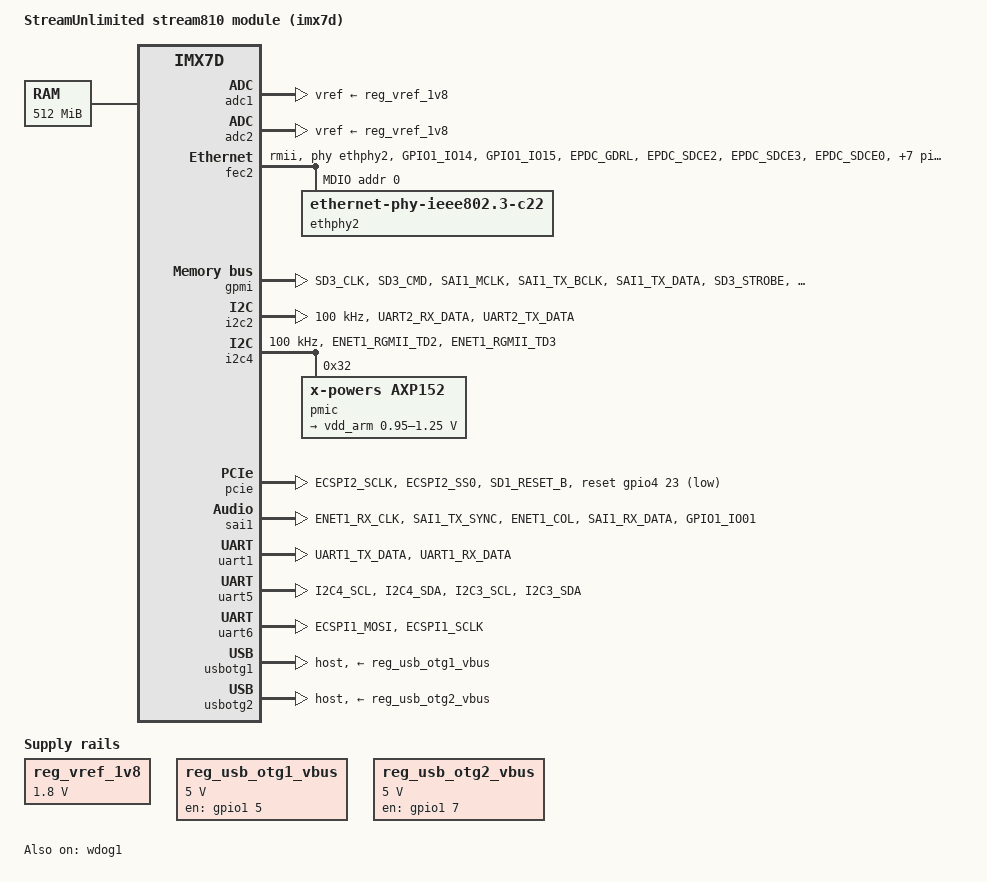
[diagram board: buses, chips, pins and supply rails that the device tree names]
/*
 * This program is free software; you can redistribute it and/or modify
 * it under the terms of the GNU General Public License version 2 as
 * published by the Free Software Foundation.
 */

#include <dt-bindings/input/input.h>
#include "imx7d.dtsi"

/ {
	model = "StreamUnlimited stream810 module (imx7d)";
	compatible = "sue,stream810", "fsl,imx7d";

	memory {
		reg = <0x80000000 0x20000000>;
	};

	firmware {
		optee {
			compatible = "linaro,optee-tz";
			method = "smc";
		};
	};

	regulators {
		compatible = "simple-bus";
		#address-cells = <1>;
		#size-cells = <0>;

		reg_vref_1v8: regulator@0 {
			compatible = "regulator-fixed";
			reg = <0>;
			regulator-name = "vref-1v8";
			regulator-min-microvolt = <1800000>;
			regulator-max-microvolt = <1800000>;
		};

		reg_usb_otg1_vbus: regulator@1 {
			pinctrl-names = "default";
			pinctrl-0 = <&pinctrl_usbotg2_pwr_1>;
			compatible = "regulator-fixed";
			reg = <0>;
			regulator-name = "usb_otg1_vbus";
			regulator-min-microvolt = <5000000>;
			regulator-max-microvolt = <5000000>;
			gpio = <&gpio1 5 GPIO_ACTIVE_HIGH>;
			enable-active-high;
		};

		reg_usb_otg2_vbus: regulator@2 {
			pinctrl-names = "default";
			pinctrl-0 = <&pinctrl_usbotg2_pwr_2>;
			compatible = "regulator-fixed";
			reg = <1>;
			regulator-name = "usb_otg2_vbus";
			regulator-min-microvolt = <5000000>;
			regulator-max-microvolt = <5000000>;
			gpio = <&gpio1 7 GPIO_ACTIVE_HIGH>;
			enable-active-high;
		};
	};
};

&adc1 {
	vref-supply = <&reg_vref_1v8>;
	status = "okay";
};

&adc2 {
	vref-supply = <&reg_vref_1v8>;
	status = "okay";
};

&caam_sm {
	status = "disabled";
};

&caam_snvs {
	status = "disabled";
};

&cpu0 {
	arm-supply = <&vdd_arm>;
};

&crypto {
	status = "disabled";
};

&fec2 {
	pinctrl-names = "default";
	pinctrl-0 = <&pinctrl_enet2>;
	status = "okay";
	pinctrl-assert-gpios = <&gpio5 11 GPIO_ACTIVE_LOW>;

	assigned-clocks = <&clks IMX7D_ENET2_TIME_ROOT_SRC>,
			  <&clks IMX7D_ENET2_TIME_ROOT_CLK>,
			  <&clks IMX7D_ENET2_REF_ROOT_SRC>,
			  <&clks IMX7D_ENET2_REF_ROOT_CLK>;
	assigned-clock-parents = <&clks IMX7D_PLL_ENET_MAIN_100M_CLK>, <0>, <&clks IMX7D_PLL_ENET_MAIN_50M_CLK>, <0>;
	assigned-clock-rates = <0>, <100000000>, <0>, <50000000>;

	/* Override this list so we can change the last one (enet_out) */
	clocks = <&clks IMX7D_ENET_AXI_ROOT_CLK>,
		 <&clks IMX7D_ENET_AXI_ROOT_CLK>,
		 <&clks IMX7D_ENET2_TIME_ROOT_CLK>,
		 <&clks IMX7D_PLL_ENET_MAIN_125M_CLK>,
		 <&clks IMX7D_ENET2_REF_ROOT_CLK>;

	phy-mode = "rmii";

	phy-reset-gpios = <&gpio4 22 GPIO_ACTIVE_LOW>;
	phy-reset-duration = <10>;

	phy-handle = <&ethphy2>;

	mdio_bus: mdio {
		#address-cells = <1>;
		#size-cells = <0>;

		/* NOTE: The phy address of this node gets patched by U-Boot before booting,
		 * we need this to easily support the legacy L1 modules. Keep this in mind
		 * if you want to change anything here.
		 */
		ethphy2: ethernet-phy@0 {
			compatible = "ethernet-phy-ieee802.3-c22";
			reg = <0>;
		};
	};
};

&gpmi {
	pinctrl-names = "default";
	pinctrl-0 = <&pinctrl_gpmi_nand_1>;
	status = "okay";
	nand-on-flash-bbt;
};

&i2c2 {
	clock-frequency = <100000>;
	pinctrl-names = "default";
	pinctrl-0 = <&pinctrl_i2c2>;
	status = "okay";
};

&i2c4 {
	clock-frequency = <100000>;
	pinctrl-names = "default";
	pinctrl-0 = <&pinctrl_i2c4>;
	status = "okay";

	pmic: axp152@32 {
		compatible = "x-powers,axp152";
		reg = <0x32>;

		regulators {
			vdd_arm: dcdc4 {
				regulator-name = "vdd_arm";
				regulator-min-microvolt = <950000>;
				regulator-max-microvolt = <1250000>;
				regulator-boot-on;
				regulator-always-on;
			};
		};
	};

};

&irq_sec_vio {
	status = "disabled";
};

/*
 * NOTES for the last number in every line:
 * 	PAD_CTL_PUS_100K_DOWN	(0 << 5)
 * 	PAD_CTL_PUS_5K_UP	(1 << 5)
 * 	PAD_CTL_PUS_47K_UP	(2 << 5)
 * 	PAD_CTL_PUS_100K_UP	(3 << 5)
 * 	PAD_CTL_PUE		(1 << 4)
 * 	PAD_CTL_HYS		(1 << 3)
 * 	PAD_CTL_SRE_SLOW	(1 << 2)
 * 	PAD_CTL_SRE_FAST	(0 << 2)
 * 	PAD_CTL_DSE_X1		(0 << 0) \
 * 	PAD_CTL_DSE_X2		(2 << 0)  |___ NOTE: the numbering here is not a typo!
 * 	PAD_CTL_DSE_X4		(1 << 0)  |
 * 	PAD_CTL_DSE_X6		(3 << 0) /
 * 	NO_PAD_CTL		(1 << 31): indicate this pin does not need config.
 * 	SIO			(1 << 30): Software Input On Field.
 */
&iomuxc {
	pinctrl-names = "default";
	pinctrl-0 = <&pinctrl_32kHz>;

	imx7d-sue-s810 {
		pinctrl_wifi: wifigrp {
			fsl,pins = <
				MX7D_PAD_ECSPI2_SCLK__GPIO4_IO20	0x14 /* PCIE_W_DISABLE */
				MX7D_PAD_ECSPI2_SS0__GPIO4_IO23		0x14 /* PCIE_PERSTN */
				MX7D_PAD_SD1_RESET_B__GPIO5_IO2		0x14 /* WiFi PDn */
			>;
		};

		pinctrl_32kHz: _32kHzgrp {
			fsl,pins = <
				MX7D_PAD_SD1_WP__CCM_CLKO2		0x14
			>;
		};

		pinctrl_enet2: enet2grp {
			fsl,pins = <
				MX7D_PAD_GPIO1_IO14__ENET2_MDIO		0x03
				MX7D_PAD_GPIO1_IO15__ENET2_MDC		0x03

				MX7D_PAD_EPDC_GDRL__ENET2_RGMII_TX_CTL	0x01
				MX7D_PAD_EPDC_SDCE2__ENET2_RGMII_TD0	0x01
				MX7D_PAD_EPDC_SDCE3__ENET2_RGMII_TD1	0x01

				MX7D_PAD_EPDC_SDCE0__ENET2_RGMII_RX_CTL	0x01
				MX7D_PAD_EPDC_SDCLK__ENET2_RGMII_RD0	0x01
				MX7D_PAD_EPDC_SDLE__ENET2_RGMII_RD1	0x01
				MX7D_PAD_EPDC_SDCE1__ENET2_RX_ER	0x01

				MX7D_PAD_EPDC_BDR0__CCM_ENET_REF_CLK2	0x40000001

				/* IRQ */
				MX7D_PAD_SD2_RESET_B__GPIO5_IO11	0x80000000

				/* nRESET pin */
				MX7D_PAD_ECSPI2_MISO__GPIO4_IO22	0x80000000
			>;
		};

		pinctrl_gpmi_nand_1: gpmi-nand-1 {
			fsl,pins = <
				MX7D_PAD_SD3_CLK__NAND_CLE		0x71
				MX7D_PAD_SD3_CMD__NAND_ALE		0x71
				MX7D_PAD_SAI1_MCLK__NAND_WP_B		0x71
				MX7D_PAD_SAI1_TX_BCLK__NAND_CE0_B	0x71
				MX7D_PAD_SAI1_TX_DATA__NAND_READY_B	0x74
				MX7D_PAD_SD3_STROBE__NAND_RE_B		0x71
				MX7D_PAD_SD3_RESET_B__NAND_WE_B		0x71
				MX7D_PAD_SD3_DATA0__NAND_DATA00		0x71
				MX7D_PAD_SD3_DATA1__NAND_DATA01		0x71
				MX7D_PAD_SD3_DATA2__NAND_DATA02		0x71
				MX7D_PAD_SD3_DATA3__NAND_DATA03		0x71
				MX7D_PAD_SD3_DATA4__NAND_DATA04		0x71
				MX7D_PAD_SD3_DATA5__NAND_DATA05		0x71
				MX7D_PAD_SD3_DATA6__NAND_DATA06		0x71
				MX7D_PAD_SD3_DATA7__NAND_DATA07		0x71
			>;
		};

		pinctrl_i2c2: i2c2grp {
			fsl,pins = <
				MX7D_PAD_UART2_RX_DATA__I2C2_SCL	0x4000007f
				MX7D_PAD_UART2_TX_DATA__I2C2_SDA	0x4000007f
			>;
		};

		pinctrl_i2c4: i2c4grp {
			fsl,pins = <
				MX7D_PAD_ENET1_RGMII_TD2__I2C4_SCL	0x4000007f
				MX7D_PAD_ENET1_RGMII_TD3__I2C4_SDA	0x4000007f
			>;
		};

		pinctrl_sai1: sai1grp {
			fsl,pins = <
				MX7D_PAD_ENET1_RX_CLK__SAI1_TX_BCLK	0x13
				MX7D_PAD_SAI1_TX_SYNC__SAI1_TX_SYNC	0x13
				MX7D_PAD_ENET1_COL__SAI1_TX_DATA0	0x13
				MX7D_PAD_SAI1_RX_DATA__SAI1_RX_DATA0	0x13
			>;
		};

		pinctrl_uart1: uart1grp {
			fsl,pins = <
				MX7D_PAD_UART1_TX_DATA__UART1_DCE_TX	0x79
				MX7D_PAD_UART1_RX_DATA__UART1_DCE_RX	0x79
			>;
		};

		pinctrl_uart5: uart5grp {
			fsl,pins = <
				MX7D_PAD_I2C4_SCL__UART5_DCE_RX		0x79
				MX7D_PAD_I2C4_SDA__UART5_DCE_TX		0x79
				MX7D_PAD_I2C3_SCL__UART5_DCE_CTS	0x79
				MX7D_PAD_I2C3_SDA__UART5_DCE_RTS	0x79
			>;
		};

		pinctrl_uart6: uart6grp {
			fsl,pins = <
				MX7D_PAD_ECSPI1_MOSI__UART6_DCE_TX	0x79
				MX7D_PAD_ECSPI1_SCLK__UART6_DCE_RX	0x79
			>;
		};
	};
};

&iomuxc_lpsr {
	pinctrl-names = "default";

	imx7d-sue-s810 {
		pinctrl_usbotg2_pwr_1: usbotg1-2 {
			fsl,pins = <
				MX7D_PAD_GPIO1_IO05__GPIO1_IO5	0x14
			>;
		};

		pinctrl_usbotg2_pwr_2: usbotg2-2 {
			fsl,pins = <
				MX7D_PAD_GPIO1_IO07__GPIO1_IO7	0x14
			>;
		};

		pinctrl_sai1_mclk: sai1grp_mclk {
			fsl,pins = <
				MX7D_PAD_GPIO1_IO01__SAI1_MCLK	0x14
			>;
		};

		pinctrl_wdog1: wdog1grp {
			fsl,pins = <
				MX7D_PAD_GPIO1_IO00__WDOD1_WDOG_B 0x74
			>;
		};
	};
};

&pcie {
	pinctrl-names = "default";
	pinctrl-0 = <&pinctrl_wifi>;

	reset-gpio = <&gpio4 23 GPIO_ACTIVE_LOW>;
	disable-gpio = <&gpio4 20 GPIO_ACTIVE_LOW>;
	power-on-gpio = <&gpio5 2 GPIO_ACTIVE_LOW>;

	status = "okay";
};

&sai1 {
	/*
	 * We are setting the clock rate of SAI1_ROOT_CLK to to the MCLK for 48kHz and the PLL is
	 * set so we can generate the MCLK for 48kHz. This will preconfigure the divider so when
	 * we switch the PLL to a frequency for 44.1kHz, we don't need to change any dividers to
	 * have the proper MCLK.
	 */
	pinctrl-names = "default";
	pinctrl-0 = <&pinctrl_sai1 &pinctrl_sai1_mclk>;
	assigned-clocks = <&clks IMX7D_PLL_AUDIO_POST_DIV>,
			  <&clks IMX7D_SAI1_ROOT_SRC>,
			  <&clks IMX7D_SAI1_ROOT_CLK>;
	assigned-clock-parents = <0>, <&clks IMX7D_PLL_AUDIO_POST_DIV>;
	assigned-clock-rates = <884736000>, <0>, <24576000>;
	sue,persistent-clocks;
	status = "okay";
};

&snvs_poweroff {
	/*
	 * We disable the poweroff driver since we are using the PMIC for
	 * poweroff.
	 */
	status = "disabled";
};

&snvs_pwrkey {
	status = "disabled";
};

&uart1 {
	pinctrl-names = "default";
	pinctrl-0 = <&pinctrl_uart1>;
	assigned-clocks = <&clks IMX7D_UART1_ROOT_SRC>;
	assigned-clock-parents = <&clks IMX7D_OSC_24M_CLK>;
	status = "okay";
};

&uart5 {
	pinctrl-names = "default";
	pinctrl-0 = <&pinctrl_uart5>;
	assigned-clocks = <&clks IMX7D_UART5_ROOT_SRC>;
	assigned-clock-parents = <&clks IMX7D_PLL_SYS_MAIN_240M_CLK>;
	fsl,uart-has-rtscts;
	status = "okay";
};

&uart6 {
	pinctrl-names = "default";
	pinctrl-0 = <&pinctrl_uart6>;
	assigned-clocks = <&clks IMX7D_UART6_ROOT_SRC>;
	assigned-clock-parents = <&clks IMX7D_OSC_24M_CLK>;
	status = "okay";
};

&usbotg1 {
	vbus-supply = <&reg_usb_otg1_vbus>;
	dr_mode = "host";
	status = "okay";
};

&usbotg2 {
	vbus-supply = <&reg_usb_otg2_vbus>;
	dr_mode = "host";
	status = "okay";
};

&wdog1 {
	pinctrl-0 = <&pinctrl_wdog1>;
	fsl,wdog_b;
	status = "okay";
};
